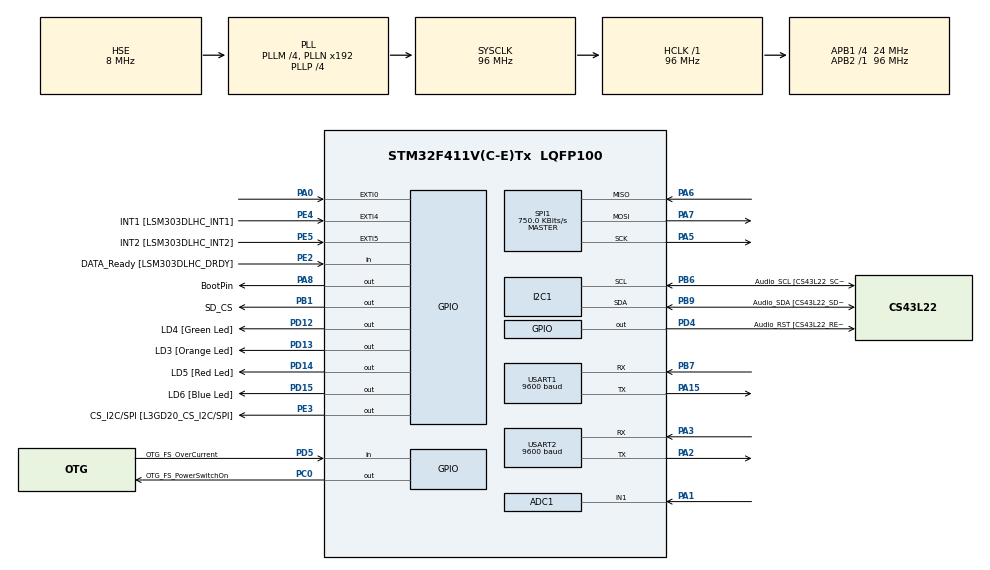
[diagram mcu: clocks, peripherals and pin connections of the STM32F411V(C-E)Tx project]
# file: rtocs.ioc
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ADC1.Channel-0\#ChannelRegularConversion=ADC_CHANNEL_1
ADC1.NbrOfConversionFlag=1
ADC1.Rank-0\#ChannelRegularConversion=1
ADC1.SamplingTime-0\#ChannelRegularConversion=ADC_SAMPLETIME_3CYCLES
ADC1.master=1
Dma.ADC1.0.Direction=DMA_PERIPH_TO_MEMORY
Dma.ADC1.0.FIFOMode=DMA_FIFOMODE_DISABLE
Dma.ADC1.0.Instance=DMA2_Stream0
Dma.ADC1.0.MemDataAlignment=DMA_MDATAALIGN_HALFWORD
Dma.ADC1.0.MemInc=DMA_MINC_ENABLE
Dma.ADC1.0.Mode=DMA_NORMAL
Dma.ADC1.0.PeriphDataAlignment=DMA_PDATAALIGN_HALFWORD
Dma.ADC1.0.PeriphInc=DMA_PINC_DISABLE
Dma.ADC1.0.Priority=DMA_PRIORITY_LOW
Dma.Request0=ADC1
FREERTOS.BinarySemaphores01=txThreadSem,Dynamic,NULL;rxThreadSem,Dynamic,NULL
FREERTOS.Tasks01=defaultTask,24,128,StartDefaultTask,Default,NULL,Dynamic,NULL,NULL;rxDataThread,48,256,startRxDataThread,Default,NULL,Dynamic,NULL,NULL;txDataThread,48,256,startTxDataThread,Default,NULL,Dynamic,NULL,NULL;telemetryThread,16,128,startTelemetryThread,Default,NULL,Dynamic,NULL,NULL;peripheryThread,8,128,startPeripheryThread,Default,NULL,Dynamic,NULL,NULL
FREERTOS.Timers01=accTimer,accTimerCallback,osTimerPeriodic,Default,NULL,Dynamic,NULL;temperatureTimer,temperatureTimerCallback,osTimerPeriodic,Default,NULL,Dynamic,NULL;gpsTimer,gpsTimerCallback,osTimerPeriodic,Default,NULL,Dynamic,NULL;lightTimer,lightTimerCallback,osTimerPeriodic,Default,NULL,Dynamic,NULL
FREERTOS.configUSE_NEWLIB_REENTRANT=1
Mcu.Family=STM32F4
Mcu.Name=STM32F411V(C-E)Tx
Mcu.Package=LQFP100
NVIC.ADC_IRQn=true\:5\:0\:false\:false\:true\:true\:true\:true
NVIC.DMA2_Stream0_IRQn=true\:5\:0\:false\:false\:true\:true\:false\:true
NVIC.PriorityGroup=NVIC_PRIORITYGROUP_4
NVIC.TIM5_IRQn=true\:15\:0\:false\:false\:true\:false\:false\:true
NVIC.TimeBase=TIM5_IRQn
NVIC.TimeBaseIP=TIM5
NVIC.USART2_IRQn=true\:5\:0\:false\:false\:true\:true\:true\:true
PA0-WKUP.GPIO_ModeDefaultEXTI=GPIO_MODE_EVT_RISING
PA0-WKUP.Signal=GPXTI0
PA1.Signal=ADCx_IN1
PA10.GPIO_Label=OTG_FS_ID
PA10.Signal=USB_OTG_FS_ID
PA11.GPIO_Label=OTG_FS_DM
PA11.Signal=USB_OTG_FS_DM
PA12.GPIO_Label=OTG_FS_DP
PA12.Signal=USB_OTG_FS_DP
PA13.GPIO_Label=SWDIO
PA13.Mode=Serial_Wire
PA13.Signal=SYS_JTMS-SWDIO
PA14.GPIO_Label=SWCLK
PA14.Mode=Serial_Wire
PA14.Signal=SYS_JTCK-SWCLK
PA15.Mode=Asynchronous
PA15.Signal=USART1_TX
PA2.Mode=Asynchronous
PA2.Signal=USART2_TX
PA3.Mode=Asynchronous
PA3.Signal=USART2_RX
PA4.GPIO_Label=I2S3_WS [CS43L22_LRCK]
PA4.GPIO_Mode=GPIO_MODE_AF_PP
PA4.GPIO_PuPd=GPIO_NOPULL
PA4.GPIO_Speed=GPIO_SPEED_FREQ_LOW
PA4.Signal=I2S3_WS
PA5.GPIO_Mode=GPIO_MODE_AF_PP
PA5.GPIO_PuPd=GPIO_PULLUP
PA5.GPIO_Speed=GPIO_SPEED_FREQ_VERY_HIGH
PA5.Mode=Full_Duplex_Master
PA5.Signal=SPI1_SCK
PA6.GPIO_Mode=GPIO_MODE_AF_PP
PA6.GPIO_PuPd=GPIO_PULLUP
PA6.GPIO_Speed=GPIO_SPEED_FREQ_VERY_HIGH
PA6.Mode=Full_Duplex_Master
PA6.Signal=SPI1_MISO
PA7.GPIO_Mode=GPIO_MODE_AF_PP
PA7.GPIO_PuPd=GPIO_PULLUP
PA7.GPIO_Speed=GPIO_SPEED_FREQ_VERY_HIGH
PA7.Mode=Full_Duplex_Master
PA7.Signal=SPI1_MOSI
PA8.GPIO_Label=BootPin
PA8.Signal=GPIO_Output
PA9.GPIO_Label=VBUS_FS
PA9.Signal=USB_OTG_FS_VBUS
PB1.GPIO_Label=SD_CS
PB1.Signal=GPIO_Output
PB10.GPIO_Label=CLK_IN [MP45DT02_CLK]
PB10.Signal=I2S2_CK
PB12.Signal=I2S2_WS
PB3.GPIO_Label=SWO
PB3.Signal=SYS_JTDO-SWO
PB6.GPIO_Label=Audio_SCL [CS43L22_SCL]
PB6.GPIO_Mode=GPIO_MODE_AF_OD
PB6.GPIO_Pu=GPIO_NOPULL
PB6.GPIO_PuPd=GPIO_NOPULL
PB6.GPIO_Speed=GPIO_SPEED_FREQ_VERY_HIGH
PB6.Mode=I2C
PB6.Signal=I2C1_SCL
PB7.Mode=Asynchronous
PB7.Signal=USART1_RX
PB9.GPIO_Label=Audio_SDA [CS43L22_SDA]
PB9.GPIO_Mode=GPIO_MODE_AF_OD
PB9.GPIO_Pu=GPIO_NOPULL
PB9.GPIO_PuPd=GPIO_NOPULL
PB9.GPIO_Speed=GPIO_SPEED_FREQ_VERY_HIGH
PB9.Mode=I2C
PB9.Signal=I2C1_SDA
PC0.GPIO_Label=OTG_FS_PowerSwitchOn
PC0.PinState=GPIO_PIN_SET
PC0.Signal=GPIO_Output
PC10.GPIO_Label=I2S3_SCK [CS43L22_SCLK]
PC10.GPIO_Mode=GPIO_MODE_AF_PP
PC10.GPIO_PuPd=GPIO_NOPULL
PC10.GPIO_Speed=GPIO_SPEED_FREQ_LOW
PC10.Signal=I2S3_CK
PC12.GPIO_Label=I2S3_SD [CS43L22_SDIN]
PC12.GPIO_Mode=GPIO_MODE_AF_PP
PC12.GPIO_PuPd=GPIO_NOPULL
PC12.GPIO_Speed=GPIO_SPEED_FREQ_LOW
PC12.Signal=I2S3_SD
PC14-OSC32_IN.GPIO_Label=PC14-OSC32_IN
PC14-OSC32_IN.Mode=LSE-External-Oscillator
PC14-OSC32_IN.Signal=RCC_OSC32_IN
PC15-OSC32_OUT.GPIO_Label=PC15-OSC32_OUT
PC15-OSC32_OUT.Mode=LSE-External-Oscillator
PC15-OSC32_OUT.Signal=RCC_OSC32_OUT
PC3.GPIO_Label=PDM_OUT [MP45DT02_DOUT]
PC3.Signal=I2S2_SD
PC7.GPIO_Label=I2S3_MCK [CS43L22_MCLK]
PC7.GPIO_Mode=GPIO_MODE_AF_PP
PC7.GPIO_PuPd=GPIO_NOPULL
PC7.GPIO_Speed=GPIO_SPEED_FREQ_LOW
PC7.Signal=I2S3_MCK
PD12.GPIO_Label=LD4 [Green Led]
PD12.GPIO_PuPd=GPIO_NOPULL
PD12.GPIO_Speed=GPIO_SPEED_FREQ_LOW
PD12.Signal=GPIO_Output
PD13.GPIO_Label=LD3 [Orange Led]
PD13.GPIO_PuPd=GPIO_NOPULL
PD13.GPIO_Speed=GPIO_SPEED_FREQ_LOW
PD13.Signal=GPIO_Output
PD14.GPIO_Label=LD5 [Red Led]
PD14.GPIO_PuPd=GPIO_NOPULL
PD14.GPIO_Speed=GPIO_SPEED_FREQ_LOW
PD14.Signal=GPIO_Output
PD15.GPIO_Label=LD6 [Blue Led]
PD15.GPIO_PuPd=GPIO_NOPULL
PD15.GPIO_Speed=GPIO_SPEED_FREQ_LOW
PD15.Signal=GPIO_Output
PD4.GPIO_Label=Audio_RST [CS43L22_RESET]
PD4.Signal=GPIO_Output
PD5.GPIO_Label=OTG_FS_OverCurrent
PD5.Signal=GPIO_Input
PE2.GPIO_Label=DATA_Ready [LSM303DLHC_DRDY]
PE2.Signal=GPIO_Input
PE3.GPIO_Label=CS_I2C/SPI [L3GD20_CS_I2C/SPI]
PE3.Signal=GPIO_Output
PE4.GPIO_Label=INT1 [LSM303DLHC_INT1]
PE4.GPIO_ModeDefaultEXTI=GPIO_MODE_EVT_RISING
PE4.Signal=GPXTI4
PE5.GPIO_Label=INT2 [LSM303DLHC_INT2]
PE5.GPIO_ModeDefaultEXTI=GPIO_MODE_EVT_RISING
PE5.Signal=GPXTI5
PH0\ -\ OSC_IN.GPIO_Label=PH0-OSC_IN
PH0\ -\ OSC_IN.Mode=HSE-External-Oscillator
PH0\ -\ OSC_IN.Signal=RCC_OSC_IN
PH1\ -\ OSC_OUT.GPIO_Label=PH1-OSC_OUT
PH1\ -\ OSC_OUT.Mode=HSE-External-Oscillator
PH1\ -\ OSC_OUT.Signal=RCC_OSC_OUT
ProjectManager.HeapSize=0x200
ProjectManager.StackSize=0x400
ProjectManager.TargetToolchain=STM32CubeIDE
RCC.48MHZClocksFreq_Value=48000000
RCC.AHBFreq_Value=96000000
RCC.APB1CLKDivider=RCC_HCLK_DIV4
RCC.APB1Freq_Value=24000000
RCC.APB1TimFreq_Value=48000000
RCC.APB2Freq_Value=96000000
RCC.APB2TimFreq_Value=96000000
RCC.CortexFreq_Value=96000000
RCC.HCLKFreq_Value=96000000
RCC.HSE_VALUE=8000000
RCC.HSI_VALUE=16000000
RCC.PLLI2SM=5
RCC.PLLI2SN=200
RCC.PLLM=4
RCC.PLLP=RCC_PLLP_DIV4
RCC.PLLQ=8
RCC.PLLSourceVirtual=RCC_PLLSOURCE_HSE
RCC.SYSCLKFreq_VALUE=96000000
RCC.SYSCLKSource=RCC_SYSCLKSOURCE_PLLCLK
RCC.VCOOutputFreq_Value=384000000
SH.ADCx_IN1.0=ADC1_IN1,IN1
SPI1.BaudRatePrescaler=SPI_BAUDRATEPRESCALER_128
SPI1.CalculateBaudRate=750.0 KBits/s
SPI1.Direction=SPI_DIRECTION_2LINES
SPI1.Mode=SPI_MODE_MASTER
SPI1.VirtualType=VM_MASTER
USART1.BaudRate=9600
USART1.VirtualMode=VM_ASYNC
USART2.BaudRate=9600
USART2.VirtualMode=VM_ASYNC
VP_FATFS_VS_Generic.Mode=User_defined
VP_FREERTOS_VS_CMSIS_V2.Mode=CMSIS_V2
VP_RTC_VS_RTC_Activate.Mode=RTC_Enabled
VP_SYS_VS_tim5.Mode=TIM5
board=STM32F411E-DISCO

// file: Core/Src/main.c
/* USER CODE BEGIN Header */
/**
  ******************************************************************************
  * @file           : main.c
  * @brief          : Main program body
  ******************************************************************************
  * @attention
  *
  * <h2><center>&copy; Copyright (c) 2022 STMicroelectronics.
  * All rights reserved.</center></h2>
  *
  * This software component is licensed by ST under Ultimate Liberty license
  * SLA0044, the "License"; You may not use this file except in compliance with
  * the License. You may obtain a copy of the License at:
  *                             www.st.com/SLA0044
  *
  ******************************************************************************
  */
/* USER CODE END Header */
#include "main.h"
#include "cmsis_os.h"
#include "adc.h"
#include "dma.h"
#include "fatfs.h"
#include "i2c.h"
#include "rtc.h"
#include "spi.h"
#include "usart.h"
#include "gpio.h"

/* USER CODE BEGIN PD */
#define MAIN_PROGRAM_START_ADDRESS 0x8060000
/* USER CODE END PD */

void SystemClock_Config(void);
void MX_FREERTOS_Init(void);

int main(void)
{

  /* MCU Configuration--------------------------------------------------------*/

  /* Reset of all peripherals, Initializes the Flash interface and the Systick. */
  HAL_Init();

  /* Configure the system clock */
  SystemClock_Config();

  /* USER CODE BEGIN SysInit */
  __disable_irq();
  SCB->VTOR = (FLASH_BASE | 0x60000U);
  __enable_irq();
  /* USER CODE END SysInit */

  /* Initialize all configured peripherals */
  MX_GPIO_Init();
  MX_I2C1_Init();
  MX_SPI1_Init();
  MX_FATFS_Init();
  MX_USART2_UART_Init();
  MX_DMA_Init();
  MX_ADC1_Init();
  MX_USART1_UART_Init();
  MX_RTC_Init();
  /* USER CODE BEGIN 2 */
  // delay needed for sd to stabilize as well as to make the upload
  // of new firmware possible (boot related issue);
  HAL_Delay(2000);

  int initStatus = -1;

  initStatus = MPU6050_Init();
  myprintf("[INFO]: acc, gyro initialisation status: %d\n", initStatus);

  bmp280_init_default_params(&bmp280.params);
  bmp280.addr = BMP280_I2C_ADDRESS_0;
  bmp280.i2c = &hi2c1;

  while (!bmp280_init(&bmp280, &bmp280.params)) {
      	myprintf("[ERROR]: bmp280 init failed\n");
      	HAL_Delay(2000);
  }

  myprintf("bmp280 initialized\n");

  while (TEMT6000_Init(&hadc1) != TEMT6000_OK) {
	  myprintf("[ERROR]: temt6000 init failed\n");
	  HAL_Delay(2000);
  }

  gsm_config_gprs();

  // run in the background receive from uart
  // in order to implment possibility to wake up
  HAL_UART_Receive_IT(&huart2, (uint8_t *)notification_buffer, 1);
  /* USER CODE END 2 */

  /* Init scheduler */
  osKernelInitialize();  /* Call init function for freertos objects (in freertos.c) */
  MX_FREERTOS_Init();
  /* Start scheduler */
  osKernelStart();

  /* We should never get here as control is now taken by the scheduler */
  /* Infinite loop */
  while (1)
  {

  }
}

void SystemClock_Config(void)
{
  RCC_OscInitTypeDef RCC_OscInitStruct = {0};
  RCC_ClkInitTypeDef RCC_ClkInitStruct = {0};

  /** Configure the main internal regulator output voltage
  */
  __HAL_RCC_PWR_CLK_ENABLE();
  __HAL_PWR_VOLTAGESCALING_CONFIG(PWR_REGULATOR_VOLTAGE_SCALE1);
  /** Initializes the RCC Oscillators according to the specified parameters
  * in the RCC_OscInitTypeDef structure.
  */
  RCC_OscInitStruct.OscillatorType = RCC_OSCILLATORTYPE_LSI|RCC_OSCILLATORTYPE_HSE;
  RCC_OscInitStruct.HSEState = RCC_HSE_ON;
  RCC_OscInitStruct.LSIState = RCC_LSI_ON;
  RCC_OscInitStruct.PLL.PLLState = RCC_PLL_ON;
  RCC_OscInitStruct.PLL.PLLSource = RCC_PLLSOURCE_HSE;
  RCC_OscInitStruct.PLL.PLLM = 4;
  RCC_OscInitStruct.PLL.PLLN = 192;
  RCC_OscInitStruct.PLL.PLLP = RCC_PLLP_DIV4;
  RCC_OscInitStruct.PLL.PLLQ = 8;
  if (HAL_RCC_OscConfig(&RCC_OscInitStruct) != HAL_OK)
  {
    Error_Handler();
  }
  /** Initializes the CPU, AHB and APB buses clocks
  */
  RCC_ClkInitStruct.ClockType = RCC_CLOCKTYPE_HCLK|RCC_CLOCKTYPE_SYSCLK
                              |RCC_CLOCKTYPE_PCLK1|RCC_CLOCKTYPE_PCLK2;
  RCC_ClkInitStruct.SYSCLKSource = RCC_SYSCLKSOURCE_PLLCLK;
  RCC_ClkInitStruct.AHBCLKDivider = RCC_SYSCLK_DIV1;
  RCC_ClkInitStruct.APB1CLKDivider = RCC_HCLK_DIV4;
  RCC_ClkInitStruct.APB2CLKDivider = RCC_HCLK_DIV1;

  if (HAL_RCC_ClockConfig(&RCC_ClkInitStruct, FLASH_LATENCY_3) != HAL_OK)
  {
    Error_Handler();
  }
}

void HAL_TIM_PeriodElapsedCallback(TIM_HandleTypeDef *htim)
{
  if (htim->Instance == TIM5) {
    HAL_IncTick();
  }
}

void Error_Handler(void)
{
  __disable_irq();
  while (1)
  {
  }
}

/************************ (C) COPYRIGHT STMicroelectronics *****END OF FILE****/

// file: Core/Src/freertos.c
/* USER CODE BEGIN Header */
/**
  ******************************************************************************
  * File Name          : freertos.c
  * Description        : Code for freertos applications
  ******************************************************************************
  * @attention
  *
  * <h2><center>&copy; Copyright (c) 2022 STMicroelectronics.
  * All rights reserved.</center></h2>
  *
  * This software component is licensed by ST under Ultimate Liberty license
  * SLA0044, the "License"; You may not use this file except in compliance with
  * the License. You may obtain a copy of the License at:
  *                             www.st.com/SLA0044
  *
  ******************************************************************************
  */
/* USER CODE END Header */

#include "FreeRTOS.h"
#include "task.h"
#include "main.h"
#include "cmsis_os.h"

/* USER CODE BEGIN Includes */
#include "telemetry_base_class.h"
#include "fatfs.h"

#include "rtc.h"
/* USER CODE END Includes */

/* USER CODE BEGIN PM */
#define printf(...) sprintf((char*) msg, __VA_ARGS__);\
		gsm_http_post(msg)
		// HAL_UART_Transmit(&huart2, (uint8_t*) msg, strlen(msg), HAL_MAX_DELAY);  \
/* USER CODE END PM */

/* USER CODE BEGIN Variables */

osStatus_t status;

FATFS FatFs;
FIL telemetryFile;
FIL firmwareFile;

/* USER CODE END Variables */
/* Definitions for defaultTask */
osThreadId_t defaultTaskHandle;
const osThreadAttr_t defaultTask_attributes = {
  .name = "defaultTask",
  .stack_size = 128 * 4,
  .priority = (osPriority_t) osPriorityNormal,
};
/* Definitions for rxDataThread */
osThreadId_t rxDataThreadHandle;
const osThreadAttr_t rxDataThread_attributes = {
  .name = "rxDataThread",
  .stack_size = 256 * 4,
  .priority = (osPriority_t) osPriorityRealtime,
};
/* Definitions for txDataThread */
osThreadId_t txDataThreadHandle;
const osThreadAttr_t txDataThread_attributes = {
  .name = "txDataThread",
  .stack_size = 256 * 4,
  .priority = (osPriority_t) osPriorityRealtime,
};
/* Definitions for telemetryThread */
osThreadId_t telemetryThreadHandle;
const osThreadAttr_t telemetryThread_attributes = {
  .name = "telemetryThread",
  .stack_size = 128 * 4,
  .priority = (osPriority_t) osPriorityBelowNormal,
};
/* Definitions for peripheryThread */
osThreadId_t peripheryThreadHandle;
const osThreadAttr_t peripheryThread_attributes = {
  .name = "peripheryThread",
  .stack_size = 128 * 4,
  .priority = (osPriority_t) osPriorityLow,
};
/* Definitions for accTimer */
osTimerId_t accTimerHandle;
const osTimerAttr_t accTimer_attributes = {
  .name = "accTimer"
};
/* Definitions for temperatureTimer */
osTimerId_t temperatureTimerHandle;
const osTimerAttr_t temperatureTimer_attributes = {
  .name = "temperatureTimer"
};
/* Definitions for gpsTimer */
osTimerId_t gpsTimerHandle;
const osTimerAttr_t gpsTimer_attributes = {
  .name = "gpsTimer"
};
/* Definitions for lightTimer */
osTimerId_t lightTimerHandle;
const osTimerAttr_t lightTimer_attributes = {
  .name = "lightTimer"
};
/* Definitions for txThreadSem */
osSemaphoreId_t txThreadSemHandle;
const osSemaphoreAttr_t txThreadSem_attributes = {
  .name = "txThreadSem"
};
/* Definitions for rxThreadSem */
osSemaphoreId_t rxThreadSemHandle;
const osSemaphoreAttr_t rxThreadSem_attributes = {
  .name = "rxThreadSem"
};

/* USER CODE BEGIN FunctionPrototypes */
osMessageQueueId_t telemetryQueueHandle;
const osMessageQueueAttr_t telemetryQueue_attributes = {
  .name = "telemetryQueue"
};

osMutexId_t telemetryFileMutexHandle;
const osMutexAttr_t telemetryFileMutex_attributes = {
  .name = "telemetryFileMutex"
};

osMutexId_t uartMutexHandle;
const osMutexAttr_t uartMutex_attributes = {
 .name = "uartMutex"
};
/* USER CODE END FunctionPrototypes */

void StartDefaultTask(void *argument);
void startRxDataThread(void *argument);
void startTxDataThread(void *argument);
void startTelemetryThread(void *argument);
void startPeripheryThread(void *argument);
void accTimerCallback(void *argument);
void temperatureTimerCallback(void *argument);
void gpsTimerCallback(void *argument);
void lightTimerCallback(void *argument);

void MX_FREERTOS_Init(void); /* (MISRA C 2004 rule 8.1) */

void MX_FREERTOS_Init(void) {
  /* USER CODE BEGIN Init */

	// initialize sd card now to check whether it is working
	// second arg is basically prefic of path to file
	FRESULT fres = f_mount(&FatFs, "", 1);
	if (fres != FR_OK) {
		printf("f_mount error (%i)\r\n", fres);
		Error_Handler();
	} else {
		printf("SD card mounted\n");
	}
  /* USER CODE END Init */

  /* USER CODE BEGIN RTOS_MUTEX */
  /* add mutexes, ... */
  telemetryFileMutexHandle = osMutexNew(&telemetryFileMutex_attributes);
  uartMutexHandle = osMutexNew(&uartMutex_attributes);
  /* USER CODE END RTOS_MUTEX */

  /* Create the semaphores(s) */
  /* creation of txThreadSem */
  txThreadSemHandle = osSemaphoreNew(1, 1, &txThreadSem_attributes);

  /* creation of rxThreadSem */
  rxThreadSemHandle = osSemaphoreNew(1, 1, &rxThreadSem_attributes);

  /* USER CODE BEGIN RTOS_SEMAPHORES */
  /* add semaphores, ... */
  osSemaphoreAcquire(txThreadSemHandle, 0);
  osSemaphoreAcquire(rxThreadSemHandle, 0);
  /* USER CODE END RTOS_SEMAPHORES */

  /* Create the timer(s) */
  /* creation of accTimer */
  accTimerHandle = osTimerNew(accTimerCallback, osTimerPeriodic, NULL, &accTimer_attributes);

  /* creation of temperatureTimer */
  temperatureTimerHandle = osTimerNew(temperatureTimerCallback, osTimerPeriodic, NULL, &temperatureTimer_attributes);

  /* creation of gpsTimer */
  gpsTimerHandle = osTimerNew(gpsTimerCallback, osTimerPeriodic, NULL, &gpsTimer_attributes);

  /* creation of lightTimer */
  lightTimerHandle = osTimerNew(lightTimerCallback, osTimerPeriodic, NULL, &lightTimer_attributes);

  /* USER CODE BEGIN RTOS_TIMERS */
  /* start timers, add new ones, ... */

  if (accTimerHandle != NULL)  {
      status = osTimerStart(accTimerHandle, 10000U);       // start timer
      if (status != osOK) {
        // Timer could not be started
    	Error_Handler();
      }
  } else {
	  Error_Handler();
  }

  if (temperatureTimerHandle != NULL)  {
        status = osTimerStart(temperatureTimerHandle, 10000U);       // start timer
        if (status != osOK) {
          // Timer could not be started
      	Error_Handler();
        }
    } else {
  	  Error_Handler();
    }

  if (gpsTimerHandle != NULL)  {
          status = osTimerStart(gpsTimerHandle, 10000U);       // start timer
          if (status != osOK) {
            // Timer could not be started
        	Error_Handler();
          }
      } else {
    	  Error_Handler();
      }

  if (lightTimerHandle != NULL)  {
      status = osTimerStart(lightTimerHandle, 10000U);       // start timer
      if (status != osOK) {
          // Timer could not be started
          Error_Handler();
      }
   } else {
      Error_Handler();
   }
  /* USER CODE END RTOS_TIMERS */

  /* USER CODE BEGIN RTOS_QUEUES */
  /* add queues, ... */
  telemetryQueueHandle = osMessageQueueNew(16, sizeof(TelemetryBase), &telemetryQueue_attributes);
  /* USER CODE END RTOS_QUEUES */

  /* Create the thread(s) */
  /* creation of defaultTask */
  defaultTaskHandle = osThreadNew(StartDefaultTask, NULL, &defaultTask_attributes);

  /* creation of rxDataThread */
  rxDataThreadHandle = osThreadNew(startRxDataThread, NULL, &rxDataThread_attributes);

  /* creation of txDataThread */
  txDataThreadHandle = osThreadNew(startTxDataThread, NULL, &txDataThread_attributes);

  /* creation of telemetryThread */
  telemetryThreadHandle = osThreadNew(startTelemetryThread, NULL, &telemetryThread_attributes);

  /* creation of peripheryThread */
  peripheryThreadHandle = osThreadNew(startPeripheryThread, NULL, &peripheryThread_attributes);

}

void StartDefaultTask(void *argument)
{
  for(;;)
  {
    osDelay(1);
  }
}

void startRxDataThread(void *argument)
{
  /* USER CODE BEGIN startRxDataThread */
	 // thread is with the highest priority, as after the signal about new firmware
	 // has come, we are not interested in data anymore
	FRESULT wr;
	UINT bytesWrote;
	int cmpRes;
	int safeToBoot = 0;

	uint8_t firmwareChunk[16];
  /* Infinite loop */
  for(;;)
  {
	  osSemaphoreAcquire(rxThreadSemHandle, osWaitForever);

	  printf("Firmware to be uploaded...\n");

	  status = osMutexAcquire(telemetryFileMutexHandle, osWaitForever);
	  if (status != osOK) {
		  printf("Could not take mutex for writing into file");
	  } else {
		  wr = f_open(&firmwareFile, "f.bin", FA_WRITE | FA_OPEN_ALWAYS | FA_CREATE_ALWAYS);
		  osMutexRelease(telemetryFileMutexHandle);

		  if(wr != FR_OK) {
			  printf("f_open error (%i)\n", wr);
		  } else {
			  for (;;) {
				  memset(firmwareChunk, 0, sizeof(firmwareChunk));
				  HAL_UART_Receive(&huart2, firmwareChunk, 4, HAL_MAX_DELAY);
				  cmpRes = strcmp(firmwareChunk, "$END");
				  if (cmpRes == 0) {
					  safeToBoot = 1;
					  break;
				  }

				  osMutexAcquire(telemetryFileMutexHandle, osWaitForever);
				  wr = f_write(&firmwareFile, firmwareChunk, 4, &bytesWrote);
				  osMutexRelease(telemetryFileMutexHandle);

				  if (wr != FR_OK) {
					  printf("[ERROR]: f_write firmware (%d)\n", wr);
					  break;
				  }
			  }

			  osMutexAcquire(telemetryFileMutexHandle, osWaitForever);
			  f_close(&firmwareFile);
			  osMutexRelease(telemetryFileMutexHandle);
		  }
	  }

	 if (safeToBoot) {
		 // toglle boot pin and software reset
		 HAL_PWR_EnableBkUpAccess();
		 HAL_RTCEx_BKUPWrite(&hrtc, RTC_BKP_DR1, 1);
		 HAL_RTCEx_BKUPWrite(&hrtc, RTC_BKP_DR2, 0);
		 HAL_RTCEx_BKUPWrite(&hrtc, RTC_BKP_DR3, 1);
		 HAL_PWR_DisableBkUpAccess();

		 HAL_NVIC_SystemReset();
	 } else {
		 // try one more time
		 HAL_UART_Receive_IT(&huart2, (uint8_t *)&notification_buffer, 1);
	 }
  }
  /* USER CODE END startRxDataThread */
}

void startTxDataThread(void *argument)
{
  /* USER CODE BEGIN startTxDataThread */
	FRESULT rr = FR_OK;
	// TODO: get rid of magic constants
	BYTE rbuf[128] = {0};
  /* Infinite loop */
  for(;;)
  {
	  if (rr != FR_OK) {
		  // printf("[ERROR]: reading : (%i)\n", rr);
	  }

	  osSemaphoreAcquire(txThreadSemHandle, osWaitForever);

	  // read from sd and write the info into uart (mock gprs)
	  osMutexAcquire(telemetryFileMutexHandle, osWaitForever);
	  rr = f_open(&telemetryFile, "write.txt", FA_WRITE | FA_READ | FA_OPEN_ALWAYS);
	  if(rr != FR_OK) {
		  osMutexRelease(telemetryFileMutexHandle);
		  HAL_UART_Receive_IT(&huart2, (uint8_t *)&notification_buffer, 1);
		  continue;
	  }

	  while (f_gets((TCHAR*)rbuf, sizeof(rbuf), &telemetryFile)) {
		  printf("[READ]: %s", rbuf);
	  }

	  f_close(&telemetryFile);
	  f_unlink("write.txt");
	  osMutexRelease(telemetryFileMutexHandle);

	  HAL_UART_Receive_IT(&huart2, (uint8_t *)&notification_buffer, 1);
  }
  /* USER CODE END startTxDataThread */
}

void startTelemetryThread(void *argument)
{
  /* USER CODE BEGIN startTelemetryThread */
  TelemetryBase tb;
  FRESULT wr = FR_OK;
  // TODO: get rid of magic constant
  BYTE wbuf[128] = {0};

  /* Infinite loop */
  for(;;)
  {
	 if (wr != FR_OK) {
		 printf("[ERROR]: writing telemetry : (%i)\n", wr);
	 }

	 osMessageQueueGet(telemetryQueueHandle, &tb, NULL, osWaitForever);

	 sprintf(wbuf, "Telemetry{%d, %u, {%d, %d, %d}}\n",
				 tb.id, tb.data_size, tb.data[0],
				 tb.data[1], tb.data[2]);
	 // printf("Writing following string to sd: %s", wbuf);

	 osMutexAcquire(telemetryFileMutexHandle, osWaitForever);
	 wr = f_open(&telemetryFile, "write.txt", FA_OPEN_APPEND | FA_WRITE | FA_READ | FA_OPEN_ALWAYS);
	 if(wr != FR_OK) {
		 osMutexRelease(telemetryFileMutexHandle);
		 continue;
	 }

	 wr = f_write(&telemetryFile, wbuf, strlen(wbuf), NULL);
	 f_close(&telemetryFile);
	 osMutexRelease(telemetryFileMutexHandle);
  }
  /* USER CODE END startTelemetryThread */
}

void startPeripheryThread(void *argument)
{
  /* USER CODE BEGIN startPeripheryThread */

	uint32_t flags;
	TelemetryBase tb;
	int16_t Data[6];
	float pressure, temperature, humidity;

	float TEMT6000_lux;

  /* Infinite loop */
  for(;;)
  {

	  osThreadFlagsWait(0x11111111U, osFlagsNoClear, osWaitForever);
	  flags = osThreadFlagsGet();
	  osThreadFlagsClear(flags);

	  switch (flags) {
	  case (0x00000001U):
	  	    MPU6050_GetAllData(Data);

			tb.id = ACC;
	  	  	tb.data_size = 3;
	  	  	tb.data[0] = Data[0];
	  	  	tb.data[1] = Data[1];
	  	  	tb.data[2] = Data[2];

	  	  	osMessageQueuePut(telemetryQueueHandle, &tb, 0U, 0U);

	  	  	tb.id = GYRO;
	  	  	tb.data_size = 3;
	  	  	tb.data[0] = Data[3];
	  	  	tb.data[1] = Data[4];
	  	  	tb.data[2] = Data[5];

	  	  	break;

	  case (0x00000010U):
			tb.id = HTP;
	  	  	tb.data_size = 3;

			while (!bmp280_read_float(&bmp280, &temperature, &pressure, &humidity));
			tb.data[0] = (int) temperature;
			tb.data[1] = (int) pressure;
			tb.data[2] = (int) humidity;

			break;

	  case (0x00000100U):

			while (!GPS_read());

			tb.id = NEO6M;
			tb.data_size = 3;
			tb.data[0] = (int) GPS.utc_time;
			tb.data[1] = (int) GPS_nmea_to_dec(GPS.nmea_latitude, GPS.ns);
			tb.data[2] = (int) GPS_nmea_to_dec(GPS.nmea_longitude, GPS.ew);

			break;

	  case (0x00001000U):

			tb.id = LIGHT;
	  	  	tb.data_size = 1;

	  	    while (TEMT6000_OK != TEMT6000_ReadLight(&TEMT6000_lux));

	  	    tb.data[0] = (int) TEMT6000_lux;

			break;
	  default:
		  break;

	  }

	  osMessageQueuePut(telemetryQueueHandle, &tb, 0U, 0U);
  }
  /* USER CODE END startPeripheryThread */
}

/* accTimerCallback function */
void accTimerCallback(void *argument)
{
  /* USER CODE BEGIN accTimerCallback */
	osThreadFlagsSet(peripheryThreadHandle, 0x00000001U);
  /* USER CODE END accTimerCallback */
}

/* temperatureTimerCallback function */
void temperatureTimerCallback(void *argument)
{
  /* USER CODE BEGIN temperatureTimerCallback */
	osThreadFlagsSet(peripheryThreadHandle, 0x00000010U);
  /* USER CODE END temperatureTimerCallback */
}

/* gpsTimerCallback function */
void gpsTimerCallback(void *argument)
{
  /* USER CODE BEGIN gpsTimerCallback */
	osThreadFlagsSet(peripheryThreadHandle, 0x00000100U);
  /* USER CODE END gpsTimerCallback */
}

/* lightTimerCallback function */
void lightTimerCallback(void *argument)
{
  /* USER CODE BEGIN lightTimerCallback */
	osThreadFlagsSet(peripheryThreadHandle, 0x00001000U);
  /* USER CODE END lightTimerCallback */
}

/* USER CODE BEGIN Application */
/*
 * [IMPORTANT] TODO: Note that this functoin is unsafe (as we might interrupt uart usage)
 * Actually not, as we would transmit only after this
 */
void HAL_UART_RxCpltCallback(UART_HandleTypeDef *huart) {
     if (huart == &huart2) {
    	 int val = (int) (notification_buffer[0] - '0');
		 switch (val) {
		 case 0:
			 osSemaphoreRelease(rxThreadSemHandle);
			 break;
		 case 1:
			 status = osSemaphoreRelease(txThreadSemHandle);
			 break;
		 default:
			 // printf("[ERROR]: Op not allowed: %d\n", val);
			 HAL_UART_Receive_IT(&huart2, (uint8_t *)&notification_buffer, 1);
			 break;
		 };

     }
}
/* USER CODE END Application */

/************************ (C) COPYRIGHT STMicroelectronics *****END OF FILE****/
